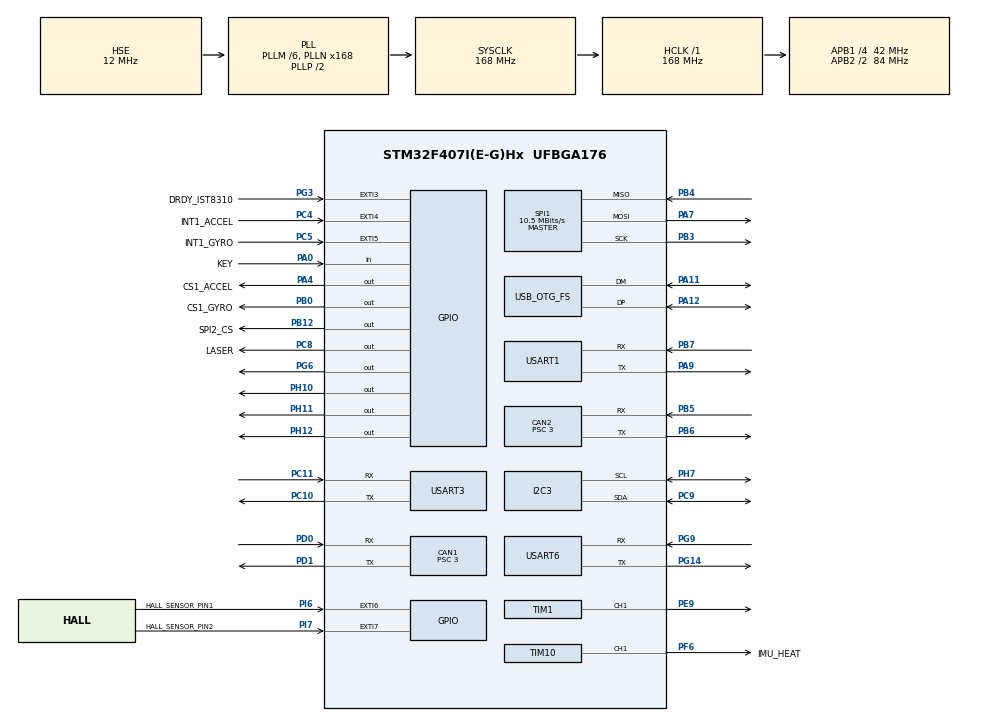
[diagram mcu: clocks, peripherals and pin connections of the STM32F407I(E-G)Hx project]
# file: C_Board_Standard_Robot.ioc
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CAN1.BS1=CAN_BS1_10TQ
CAN1.BS2=CAN_BS2_3TQ
CAN1.CalculateBaudRate=1000000
CAN1.CalculateTimeBit=1000
CAN1.CalculateTimeQuantum=71.42857142857143
CAN1.Prescaler=3
CAN2.BS1=CAN_BS1_10TQ
CAN2.BS2=CAN_BS2_3TQ
CAN2.CalculateBaudRate=1000000
CAN2.CalculateTimeBit=1000
CAN2.CalculateTimeQuantum=71.42857142857143
CAN2.Prescaler=3
Dma.Request0=SPI1_RX
Dma.Request1=SPI1_TX
Dma.Request2=USART1_RX
Dma.Request3=USART1_TX
Dma.Request4=USART3_RX
Dma.Request5=USART3_TX
Dma.Request6=USART6_RX
Dma.Request7=USART6_TX
Dma.SPI1_RX.0.Direction=DMA_PERIPH_TO_MEMORY
Dma.SPI1_RX.0.FIFOMode=DMA_FIFOMODE_DISABLE
Dma.SPI1_RX.0.Instance=DMA2_Stream0
Dma.SPI1_RX.0.MemDataAlignment=DMA_MDATAALIGN_BYTE
Dma.SPI1_RX.0.MemInc=DMA_MINC_ENABLE
Dma.SPI1_RX.0.Mode=DMA_NORMAL
Dma.SPI1_RX.0.PeriphDataAlignment=DMA_PDATAALIGN_BYTE
Dma.SPI1_RX.0.PeriphInc=DMA_PINC_DISABLE
Dma.SPI1_RX.0.Priority=DMA_PRIORITY_VERY_HIGH
Dma.SPI1_TX.1.Direction=DMA_MEMORY_TO_PERIPH
Dma.SPI1_TX.1.FIFOMode=DMA_FIFOMODE_DISABLE
Dma.SPI1_TX.1.Instance=DMA2_Stream3
Dma.SPI1_TX.1.MemDataAlignment=DMA_MDATAALIGN_BYTE
Dma.SPI1_TX.1.MemInc=DMA_MINC_ENABLE
Dma.SPI1_TX.1.Mode=DMA_NORMAL
Dma.SPI1_TX.1.PeriphDataAlignment=DMA_PDATAALIGN_BYTE
Dma.SPI1_TX.1.PeriphInc=DMA_PINC_DISABLE
Dma.SPI1_TX.1.Priority=DMA_PRIORITY_HIGH
Dma.USART1_RX.2.Direction=DMA_PERIPH_TO_MEMORY
Dma.USART1_RX.2.FIFOMode=DMA_FIFOMODE_DISABLE
Dma.USART1_RX.2.Instance=DMA2_Stream2
Dma.USART1_RX.2.MemDataAlignment=DMA_MDATAALIGN_BYTE
Dma.USART1_RX.2.MemInc=DMA_MINC_ENABLE
Dma.USART1_RX.2.Mode=DMA_NORMAL
Dma.USART1_RX.2.PeriphDataAlignment=DMA_PDATAALIGN_BYTE
Dma.USART1_RX.2.PeriphInc=DMA_PINC_DISABLE
Dma.USART1_RX.2.Priority=DMA_PRIORITY_VERY_HIGH
Dma.USART1_TX.3.Direction=DMA_MEMORY_TO_PERIPH
Dma.USART1_TX.3.FIFOMode=DMA_FIFOMODE_DISABLE
Dma.USART1_TX.3.Instance=DMA2_Stream7
Dma.USART1_TX.3.MemDataAlignment=DMA_MDATAALIGN_BYTE
Dma.USART1_TX.3.MemInc=DMA_MINC_ENABLE
Dma.USART1_TX.3.Mode=DMA_NORMAL
Dma.USART1_TX.3.PeriphDataAlignment=DMA_PDATAALIGN_BYTE
Dma.USART1_TX.3.PeriphInc=DMA_PINC_DISABLE
Dma.USART1_TX.3.Priority=DMA_PRIORITY_VERY_HIGH
Dma.USART3_RX.4.Direction=DMA_PERIPH_TO_MEMORY
Dma.USART3_RX.4.FIFOMode=DMA_FIFOMODE_DISABLE
Dma.USART3_RX.4.Instance=DMA1_Stream1
Dma.USART3_RX.4.MemDataAlignment=DMA_MDATAALIGN_BYTE
Dma.USART3_RX.4.MemInc=DMA_MINC_ENABLE
Dma.USART3_RX.4.Mode=DMA_NORMAL
Dma.USART3_RX.4.PeriphDataAlignment=DMA_PDATAALIGN_BYTE
Dma.USART3_RX.4.PeriphInc=DMA_PINC_DISABLE
Dma.USART3_RX.4.Priority=DMA_PRIORITY_VERY_HIGH
Dma.USART3_TX.5.Direction=DMA_MEMORY_TO_PERIPH
Dma.USART3_TX.5.FIFOMode=DMA_FIFOMODE_DISABLE
Dma.USART3_TX.5.Instance=DMA1_Stream3
Dma.USART3_TX.5.MemDataAlignment=DMA_MDATAALIGN_BYTE
Dma.USART3_TX.5.MemInc=DMA_MINC_ENABLE
Dma.USART3_TX.5.Mode=DMA_NORMAL
Dma.USART3_TX.5.PeriphDataAlignment=DMA_PDATAALIGN_BYTE
Dma.USART3_TX.5.PeriphInc=DMA_PINC_DISABLE
Dma.USART3_TX.5.Priority=DMA_PRIORITY_VERY_HIGH
Dma.USART6_RX.6.Direction=DMA_PERIPH_TO_MEMORY
Dma.USART6_RX.6.FIFOMode=DMA_FIFOMODE_DISABLE
Dma.USART6_RX.6.Instance=DMA2_Stream1
Dma.USART6_RX.6.MemDataAlignment=DMA_MDATAALIGN_BYTE
Dma.USART6_RX.6.MemInc=DMA_MINC_ENABLE
Dma.USART6_RX.6.Mode=DMA_NORMAL
Dma.USART6_RX.6.PeriphDataAlignment=DMA_PDATAALIGN_BYTE
Dma.USART6_RX.6.PeriphInc=DMA_PINC_DISABLE
Dma.USART6_RX.6.Priority=DMA_PRIORITY_VERY_HIGH
Dma.USART6_TX.7.Direction=DMA_MEMORY_TO_PERIPH
Dma.USART6_TX.7.FIFOMode=DMA_FIFOMODE_DISABLE
Dma.USART6_TX.7.Instance=DMA2_Stream6
Dma.USART6_TX.7.MemDataAlignment=DMA_MDATAALIGN_BYTE
Dma.USART6_TX.7.MemInc=DMA_MINC_ENABLE
Dma.USART6_TX.7.Mode=DMA_NORMAL
Dma.USART6_TX.7.PeriphDataAlignment=DMA_PDATAALIGN_BYTE
Dma.USART6_TX.7.PeriphInc=DMA_PINC_DISABLE
Dma.USART6_TX.7.Priority=DMA_PRIORITY_VERY_HIGH
FREERTOS.INCLUDE_eTaskGetState=1
FREERTOS.INCLUDE_pcTaskGetTaskName=1
FREERTOS.INCLUDE_uxTaskGetStackHighWaterMark=1
FREERTOS.INCLUDE_vTaskCleanUpResources=1
FREERTOS.INCLUDE_vTaskDelayUntil=1
FREERTOS.INCLUDE_xEventGroupSetBitFromISR=1
FREERTOS.INCLUDE_xQueueGetMutexHolder=1
FREERTOS.INCLUDE_xSemaphoreGetMutexHolder=1
FREERTOS.INCLUDE_xTaskAbortDelay=1
FREERTOS.INCLUDE_xTaskGetCurrentTaskHandle=1
FREERTOS.INCLUDE_xTaskGetHandle=1
FREERTOS.INCLUDE_xTimerPendFunctionCall=1
FREERTOS.Tasks01=INSTask,0,1024,StartINSTask,Default,NULL,Dynamic,NULL,NULL;defaultTask,0,128,StartDefaultTask,Default,NULL,Dynamic,NULL,NULL;Chassistask,0,512,Chassis_task,As external,NULL,Dynamic,NULL,NULL;UItask,0,512,StartUItask,Default,NULL,Dynamic,NULL,NULL;ExchangeTask,0,128,Exchange_task,As external,NULL,Dynamic,NULL,NULL;Gimbaltask,3,512,Gimbal_task,As external,NULL,Dynamic,NULL,NULL;Daemontask,0,128,StartDaemontask,Default,NULL,Dynamic,NULL,NULL;Shoottask,0,256,Shoot_task,As external,NULL,Dynamic,NULL,NULL
FREERTOS.configTOTAL_HEAP_SIZE=24576
I2C3.I2C_Mode=I2C_Fast
Mcu.Family=STM32F4
Mcu.Name=STM32F407I(E-G)Hx
Mcu.Package=UFBGA176
NVIC.CAN1_RX0_IRQn=true\:5\:0\:false\:false\:true\:true\:true\:true\:true
NVIC.CAN1_TX_IRQn=true\:5\:0\:false\:false\:true\:true\:true\:true\:true
NVIC.CAN2_RX0_IRQn=true\:5\:0\:false\:false\:true\:true\:true\:true\:true
NVIC.CAN2_TX_IRQn=true\:5\:0\:false\:false\:true\:true\:true\:true\:true
NVIC.DMA1_Stream1_IRQn=true\:5\:0\:false\:false\:true\:true\:false\:true\:true
NVIC.DMA1_Stream3_IRQn=true\:5\:0\:false\:false\:true\:true\:false\:true\:true
NVIC.DMA2_Stream0_IRQn=true\:5\:0\:false\:false\:true\:true\:false\:true\:true
NVIC.DMA2_Stream1_IRQn=true\:5\:0\:false\:false\:true\:true\:false\:true\:true
NVIC.DMA2_Stream2_IRQn=true\:5\:0\:true\:false\:false\:true\:false\:true\:true
NVIC.DMA2_Stream3_IRQn=true\:5\:0\:true\:false\:false\:true\:false\:true\:true
NVIC.DMA2_Stream6_IRQn=true\:5\:0\:false\:false\:true\:true\:false\:true\:true
NVIC.DMA2_Stream7_IRQn=true\:5\:0\:false\:false\:true\:true\:false\:true\:true
NVIC.EXTI3_IRQn=true\:5\:0\:true\:false\:true\:true\:true\:true\:true
NVIC.EXTI4_IRQn=true\:5\:0\:true\:false\:true\:true\:true\:true\:true
NVIC.EXTI9_5_IRQn=true\:5\:0\:true\:false\:true\:true\:true\:true\:true
NVIC.OTG_FS_IRQn=true\:5\:0\:false\:false\:true\:true\:false\:true\:true
NVIC.PriorityGroup=NVIC_PRIORITYGROUP_4
NVIC.SPI1_IRQn=true\:5\:0\:false\:false\:true\:true\:true\:true\:true
NVIC.TIM1_BRK_TIM9_IRQn=true\:5\:0\:false\:false\:true\:true\:true\:true\:true
NVIC.TIM1_UP_TIM10_IRQn=true\:5\:0\:false\:false\:true\:true\:true\:true\:true
NVIC.TIM3_IRQn=true\:15\:0\:false\:false\:true\:false\:false\:true\:true
NVIC.TIM8_BRK_TIM12_IRQn=true\:5\:0\:false\:false\:true\:true\:true\:true\:true
NVIC.TIM8_UP_TIM13_IRQn=true\:5\:0\:false\:false\:true\:true\:true\:true\:true
NVIC.TimeBase=TIM3_IRQn
NVIC.TimeBaseIP=TIM3
NVIC.USART1_IRQn=true\:5\:0\:false\:false\:true\:true\:true\:true\:true
NVIC.USART3_IRQn=true\:5\:0\:false\:false\:true\:true\:true\:true\:true
NVIC.USART6_IRQn=true\:5\:0\:false\:false\:true\:true\:true\:true\:true
PA0-WKUP.GPIO_Label=KEY
PA0-WKUP.GPIO_PuPd=GPIO_PULLUP
PA0-WKUP.Signal=GPIO_Input
PA11.Mode=Device_Only
PA11.Signal=USB_OTG_FS_DM
PA12.Mode=Device_Only
PA12.Signal=USB_OTG_FS_DP
PA13.Mode=Serial_Wire
PA13.Signal=SYS_JTMS-SWDIO
PA14.Mode=Serial_Wire
PA14.Signal=SYS_JTCK-SWCLK
PA4.GPIO_Label=CS1_ACCEL
PA4.GPIO_PuPd=GPIO_PULLUP
PA4.GPIO_Speed=GPIO_SPEED_FREQ_HIGH
PA4.PinState=GPIO_PIN_SET
PA4.Signal=GPIO_Output
PA7.GPIO_PuPd=GPIO_PULLUP
PA7.Mode=Full_Duplex_Master
PA7.Signal=SPI1_MOSI
PA9.Mode=Asynchronous
PA9.Signal=USART1_TX
PB0.GPIO_Label=CS1_GYRO
PB0.GPIO_PuPd=GPIO_PULLUP
PB0.GPIO_Speed=GPIO_SPEED_FREQ_HIGH
PB0.PinState=GPIO_PIN_SET
PB0.Signal=GPIO_Output
PB12.GPIO_Label=SPI2_CS
PB12.GPIO_PuPd=GPIO_PULLUP
PB12.GPIO_Speed=GPIO_SPEED_FREQ_MEDIUM
PB12.PinState=GPIO_PIN_SET
PB12.Signal=GPIO_Output
PB3.GPIO_PuPd=GPIO_PULLUP
PB3.Mode=Full_Duplex_Master
PB3.Signal=SPI1_SCK
PB4.GPIO_PuPd=GPIO_PULLUP
PB4.Mode=Full_Duplex_Master
PB4.Signal=SPI1_MISO
PB5.Mode=CAN_Activate
PB5.Signal=CAN2_RX
PB6.Mode=CAN_Activate
PB6.Signal=CAN2_TX
PB7.Mode=Asynchronous
PB7.Signal=USART1_RX
PC10.Mode=Asynchronous
PC10.Signal=USART3_TX
PC11.Mode=Asynchronous
PC11.Signal=USART3_RX
PC4.GPIO_Label=INT1_ACCEL
PC4.GPIO_ModeDefaultEXTI=GPIO_MODE_IT_FALLING
PC4.GPIO_PuPd=GPIO_PULLUP
PC4.Signal=GPXTI4
PC5.GPIO_Label=INT1_GYRO
PC5.GPIO_ModeDefaultEXTI=GPIO_MODE_IT_FALLING
PC5.GPIO_PuPd=GPIO_PULLUP
PC5.Signal=GPXTI5
PC8.GPIO_Label=LASER
PC8.Signal=GPIO_Output
PC9.Mode=I2C
PC9.Signal=I2C3_SDA
PD0.Mode=CAN_Activate
PD0.Signal=CAN1_RX
PD1.Mode=CAN_Activate
PD1.Signal=CAN1_TX
PE9.GPIO_PuPd=GPIO_PULLUP
PE9.GPIO_Speed=GPIO_SPEED_FREQ_HIGH
PE9.Signal=S_TIM1_CH1
PF6.GPIO_Label=IMU_HEAT
PF6.GPIO_PuPd=GPIO_PULLUP
PF6.GPIO_Speed=GPIO_SPEED_FREQ_HIGH
PF6.Signal=S_TIM10_CH1
PG14.Mode=Asynchronous
PG14.Signal=USART6_TX
PG3.GPIO_Label=DRDY_IST8310
PG3.GPIO_ModeDefaultEXTI=GPIO_MODE_IT_FALLING
PG3.GPIO_PuPd=GPIO_PULLUP
PG3.Signal=GPXTI3
PG6.Signal=GPIO_Output
PG9.Mode=Asynchronous
PG9.Signal=USART6_RX
PH0-OSC_IN.Mode=HSE-External-Oscillator
PH0-OSC_IN.Signal=RCC_OSC_IN
PH1-OSC_OUT.Mode=HSE-External-Oscillator
PH1-OSC_OUT.Signal=RCC_OSC_OUT
PH10.GPIO_PuPd=GPIO_PULLUP
PH10.Signal=GPIO_Output
PH11.GPIO_PuPd=GPIO_PULLUP
PH11.Signal=GPIO_Output
PH12.GPIO_PuPd=GPIO_PULLUP
PH12.Signal=GPIO_Output
PH7.Mode=I2C
PH7.Signal=I2C3_SCL
PI6.GPIO_Label=HALL_SENSOR_PIN1
PI6.Signal=GPXTI6
PI7.GPIO_Label=HALL_SENSOR_PIN2
PI7.Signal=GPXTI7
ProjectManager.HeapSize=0x2000
ProjectManager.StackSize=0x2000
ProjectManager.TargetToolchain=MDK-ARM V5.32
RCC.48MHZClocksFreq_Value=48000000
RCC.AHBFreq_Value=168000000
RCC.APB1CLKDivider=RCC_HCLK_DIV4
RCC.APB1Freq_Value=42000000
RCC.APB1TimFreq_Value=84000000
RCC.APB2CLKDivider=RCC_HCLK_DIV2
RCC.APB2Freq_Value=84000000
RCC.APB2TimFreq_Value=168000000
RCC.CortexFreq_Value=168000000
RCC.HCLKFreq_Value=168000000
RCC.HSE_VALUE=12000000
RCC.HSI_VALUE=16000000
RCC.LSE_VALUE=32768
RCC.PLLM=6
RCC.PLLN=168
RCC.PLLQ=7
RCC.PLLSourceVirtual=RCC_PLLSOURCE_HSE
RCC.RCC_RTC_Clock_SourceVirtual=RCC_RTCCLKSOURCE_HSE_DIV30
RCC.RCC_RTC_Clock_Source_FROM_HSE=RCC_RTCCLKSOURCE_HSE_DIV30
RCC.SYSCLKFreq_VALUE=168000000
RCC.SYSCLKSource=RCC_SYSCLKSOURCE_PLLCLK
RCC.VCOOutputFreq_Value=336000000
SH.S_TIM10_CH1.0=TIM10_CH1,PWM Generation1 CH1
SH.S_TIM1_CH1.0=TIM1_CH1,PWM Generation1 CH1
SPI1.BaudRatePrescaler=SPI_BAUDRATEPRESCALER_8
SPI1.CLKPhase=SPI_PHASE_2EDGE
SPI1.CLKPolarity=SPI_POLARITY_HIGH
SPI1.CalculateBaudRate=10.5 MBits/s
SPI1.Direction=SPI_DIRECTION_2LINES
SPI1.Mode=SPI_MODE_MASTER
SPI1.VirtualType=VM_MASTER
TIM1.Channel-PWM\ Generation1\ CH1=TIM_CHANNEL_1
TIM1.Period=10000-1
TIM1.Prescaler=16800-1
TIM10.Channel=TIM_CHANNEL_1
TIM10.Period=2000-1
TIM10.Prescaler=84-1
TIM2.Period=100-1
TIM2.Prescaler=8400
TIM9.Period=100-1
TIM9.Prescaler=16800-1
USART1.VirtualMode=VM_ASYNC
USART3.VirtualMode=VM_ASYNC
USART6.VirtualMode=VM_ASYNC
USB_DEVICE.CLASS_NAME_FS=CDC
USB_DEVICE.VirtualMode-CDC_FS=Cdc
USB_DEVICE.VirtualModeFS=Cdc_FS
USB_OTG_FS.VirtualMode=Device_Only
VP_FREERTOS_VS_CMSIS_V1.Mode=CMSIS_V1
VP_SYS_VS_tim3.Mode=TIM3
VP_TIM10_VS_ClockSourceINT.Mode=Enable_Timer
VP_TIM1_VS_ClockSourceINT.Mode=Internal
VP_TIM2_VS_ClockSourceINT.Mode=Internal
VP_TIM8_VS_ClockSourceINT.Mode=Internal
VP_TIM9_VS_ClockSourceINT.Mode=Internal
VP_USB_DEVICE_VS_USB_DEVICE_CDC_FS.Mode=CDC_FS
board=custom

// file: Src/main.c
/* USER CODE BEGIN Header */
/**
  ******************************************************************************
  * @file           : main.c
  * @brief          : Main program body
  ******************************************************************************
  * @attention
  *
  * Copyright (c) 2023 STMicroelectronics.
  * All rights reserved.
  *
  * This software is licensed under terms that can be found in the LICENSE file
  * in the root directory of this software component.
  * If no LICENSE file comes with this software, it is provided AS-IS.
  *
  ******************************************************************************
  */
/* USER CODE END Header */
#include "main.h"
#include "cmsis_os.h"
#include "can.h"
#include "dma.h"
#include "i2c.h"
#include "spi.h"
#include "tim.h"
#include "usart.h"
#include "usb_device.h"
#include "gpio.h"

/* USER CODE BEGIN Includes */
#include "INS_task.h"
#include "drv_can.h"
#include "drv_usart.h"
#
/* USER CODE END Includes */

void SystemClock_Config(void);
void MX_FREERTOS_Init(void);

/* USER CODE BEGIN 0 */
//全局变量
uint16_t can_cnt_2;
float target_speed[7]={0};//实测最大空载转速320rpm
float target_speed_can_2[7]={0};//实测最大空载转速320rpm
moto_info_t motor_info[MOTOR_MAX_NUM];		//赋予最大的7个字节
moto_info_t motor_info_can_2[MOTOR_MAX_NUM];		//赋予最大的7个字节

uint8_t can_flag=0;
double step=9158/660;
double r;
double target_v;
int16_t target_int1;
int16_t target_int2;//用于叠加旋转和直行
double target_curl;
float yuntai_step=60*(1024-364);

//拨盘
float time=100;//时间
float time_count;//时间计数值
uint8_t flag_shoot;//标志位
float round_shoot;//转动圈数
float down;
float up;

//Yaw轴
int16_t target_angle=4096;
int16_t err_angle;
int16_t max_yaw_speed;
float small;
float angle_limit =8191;//转角的最大值

uint8_t rx_data[8];
/* USER CODE END 0 */

int main(void)
{

  /* MCU Configuration--------------------------------------------------------*/

  /* Reset of all peripherals, Initializes the Flash interface and the Systick. */
  HAL_Init();

  /* Configure the system clock */
  SystemClock_Config();

  /* Initialize all configured peripherals */
  MX_GPIO_Init();
  MX_DMA_Init();
  MX_SPI1_Init();
  MX_TIM10_Init();
  MX_CAN1_Init();
  MX_CAN2_Init();
  MX_I2C3_Init();
  MX_TIM1_Init();
  MX_TIM2_Init();
  MX_TIM8_Init();
  MX_TIM9_Init();
  MX_USART1_UART_Init();
  MX_USART3_UART_Init();
  MX_USART6_UART_Init();
  /* USER CODE BEGIN 2 */
	HAL_TIM_PWM_Start(&htim10,TIM_CHANNEL_1);
	HAL_NVIC_SetPriority(TIM2_IRQn, 0, 0);//修改TIM2中断优先级
//	HAL_NVIC_SetPriority(SysTick_IRQn,1,1);//调高HAL_Delay的时钟中断优先级
	CAN1_Init();
  CAN2_Init();
  USART6_Init();
	USART3_Init();
	HAL_TIM_Base_Start_IT(&htim1);//开启定时器1并打开中断,记得修改优先级
  DWT_Init(168);

  while (BMI088_init(&hspi1, 1) != BMI088_NO_ERROR)
        ;
  /* USER CODE END 2 */

  /* Call init function for freertos objects (in freertos.c) */
  MX_FREERTOS_Init();

  /* Start scheduler */
  osKernelStart();
  /* We should never get here as control is now taken by the scheduler */
  /* Infinite loop */
  while (1)
  {

  }
}

void SystemClock_Config(void)
{
  RCC_OscInitTypeDef RCC_OscInitStruct = {0};
  RCC_ClkInitTypeDef RCC_ClkInitStruct = {0};

  /** Configure the main internal regulator output voltage
  */
  __HAL_RCC_PWR_CLK_ENABLE();
  __HAL_PWR_VOLTAGESCALING_CONFIG(PWR_REGULATOR_VOLTAGE_SCALE1);

  /** Initializes the RCC Oscillators according to the specified parameters
  * in the RCC_OscInitTypeDef structure.
  */
  RCC_OscInitStruct.OscillatorType = RCC_OSCILLATORTYPE_HSE;
  RCC_OscInitStruct.HSEState = RCC_HSE_ON;
  RCC_OscInitStruct.PLL.PLLState = RCC_PLL_ON;
  RCC_OscInitStruct.PLL.PLLSource = RCC_PLLSOURCE_HSE;
  RCC_OscInitStruct.PLL.PLLM = 6;
  RCC_OscInitStruct.PLL.PLLN = 168;
  RCC_OscInitStruct.PLL.PLLP = RCC_PLLP_DIV2;
  RCC_OscInitStruct.PLL.PLLQ = 7;
  if (HAL_RCC_OscConfig(&RCC_OscInitStruct) != HAL_OK)
  {
    Error_Handler();
  }

  /** Initializes the CPU, AHB and APB buses clocks
  */
  RCC_ClkInitStruct.ClockType = RCC_CLOCKTYPE_HCLK|RCC_CLOCKTYPE_SYSCLK
                              |RCC_CLOCKTYPE_PCLK1|RCC_CLOCKTYPE_PCLK2;
  RCC_ClkInitStruct.SYSCLKSource = RCC_SYSCLKSOURCE_PLLCLK;
  RCC_ClkInitStruct.AHBCLKDivider = RCC_SYSCLK_DIV1;
  RCC_ClkInitStruct.APB1CLKDivider = RCC_HCLK_DIV4;
  RCC_ClkInitStruct.APB2CLKDivider = RCC_HCLK_DIV2;

  if (HAL_RCC_ClockConfig(&RCC_ClkInitStruct, FLASH_LATENCY_5) != HAL_OK)
  {
    Error_Handler();
  }
}

void HAL_TIM_PeriodElapsedCallback(TIM_HandleTypeDef *htim)
{
  if (htim->Instance == TIM3) {
    HAL_IncTick();
  }
}

void Error_Handler(void)
{
  __disable_irq();
  while (1)
  {
  }
}

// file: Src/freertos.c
/* USER CODE BEGIN Header */
/**
 ******************************************************************************
 * File Name          : freertos.c
 * Description        : Code for freertos applications
 ******************************************************************************
 * @attention
 *
 * <h2><center>&copy; Copyright (c) 2021 STMicroelectronics.
 * All rights reserved.</center></h2>
 *
 * This software component is licensed by ST under Ultimate Liberty license
 * SLA0044, the "License"; You may not use this file except in compliance with
 * the License. You may obtain a copy of the License at:
 *                             www.st.com/SLA0044
 *
 ******************************************************************************
 */
/* USER CODE END Header */

#include "FreeRTOS.h"
#include "task.h"
#include "main.h"
#include "cmsis_os.h"

/* USER CODE BEGIN Includes */
#include "rc_potocal.h"
#include "arm_math.h"
#include "INS_task.h"
#include "exchange.h"
#include "Chassis_task.h"
#include "super_cap.h"
#include  "UI_task.h"
#include "stm32f4xx_it.h"
/* USER CODE END Includes */

/* USER CODE BEGIN Variables */
osThreadId Chassis_taskHandle;
osThreadId myTask02Handle;
osThreadId super_capHandle;
osThreadId UI_taskHandle;
/* USER CODE END Variables */
osThreadId INSTaskHandle;
osThreadId defaultTaskHandle;
osThreadId ChassistaskHandle;
osThreadId UItaskHandle;
osThreadId ExchangeTaskHandle;
osThreadId GimbaltaskHandle;
osThreadId DaemontaskHandle;
osThreadId ShoottaskHandle;

void StartINSTask(void const * argument);
void StartDefaultTask(void const * argument);
extern void Chassis_task(void const * argument);
void StartUItask(void const * argument);
extern void Exchange_task(void const * argument);
extern void Gimbal_task(void const * argument);
void StartDaemontask(void const * argument);
extern void Shoot_task(void const * argument);

extern void MX_USB_DEVICE_Init(void);
void MX_FREERTOS_Init(void); /* (MISRA C 2004 rule 8.1) */

/* GetIdleTaskMemory prototype (linked to static allocation support) */
void vApplicationGetIdleTaskMemory( StaticTask_t **ppxIdleTaskTCBBuffer, StackType_t **ppxIdleTaskStackBuffer, uint32_t *pulIdleTaskStackSize );

/* GetTimerTaskMemory prototype (linked to static allocation support) */
void vApplicationGetTimerTaskMemory( StaticTask_t **ppxTimerTaskTCBBuffer, StackType_t **ppxTimerTaskStackBuffer, uint32_t *pulTimerTaskStackSize );

/* USER CODE BEGIN GET_IDLE_TASK_MEMORY */
static StaticTask_t xIdleTaskTCBBuffer;
static StackType_t xIdleStack[configMINIMAL_STACK_SIZE];

void vApplicationGetIdleTaskMemory(StaticTask_t **ppxIdleTaskTCBBuffer, StackType_t **ppxIdleTaskStackBuffer, uint32_t *pulIdleTaskStackSize)
{
    *ppxIdleTaskTCBBuffer = &xIdleTaskTCBBuffer;
    *ppxIdleTaskStackBuffer = &xIdleStack[0];
    *pulIdleTaskStackSize = configMINIMAL_STACK_SIZE;
    /* place for user code */
}
/* USER CODE END GET_IDLE_TASK_MEMORY */

/* USER CODE BEGIN GET_TIMER_TASK_MEMORY */
static StaticTask_t xTimerTaskTCBBuffer;
static StackType_t xTimerStack[configTIMER_TASK_STACK_DEPTH];

void vApplicationGetTimerTaskMemory(StaticTask_t **ppxTimerTaskTCBBuffer, StackType_t **ppxTimerTaskStackBuffer, uint32_t *pulTimerTaskStackSize)
{
    *ppxTimerTaskTCBBuffer = &xTimerTaskTCBBuffer;
    *ppxTimerTaskStackBuffer = &xTimerStack[0];
    *pulTimerTaskStackSize = configTIMER_TASK_STACK_DEPTH;
    /* place for user code */
}
/* USER CODE END GET_TIMER_TASK_MEMORY */

void MX_FREERTOS_Init(void) {

  /* Create the thread(s) */
  /* definition and creation of INSTask */
  osThreadDef(INSTask, StartINSTask, osPriorityNormal, 0, 1024);
  INSTaskHandle = osThreadCreate(osThread(INSTask), NULL);

  /* definition and creation of defaultTask */
  osThreadDef(defaultTask, StartDefaultTask, osPriorityNormal, 0, 128);
  defaultTaskHandle = osThreadCreate(osThread(defaultTask), NULL);

  /* definition and creation of Chassistask */
  osThreadDef(Chassistask, Chassis_task, osPriorityNormal, 0, 512);
  ChassistaskHandle = osThreadCreate(osThread(Chassistask), NULL);

  /* definition and creation of UItask */
  osThreadDef(UItask, StartUItask, osPriorityNormal, 0, 512);
  UItaskHandle = osThreadCreate(osThread(UItask), NULL);

  /* definition and creation of ExchangeTask */
  osThreadDef(ExchangeTask, Exchange_task, osPriorityNormal, 0, 128);
  ExchangeTaskHandle = osThreadCreate(osThread(ExchangeTask), NULL);

  /* definition and creation of Gimbaltask */
  osThreadDef(Gimbaltask, Gimbal_task, osPriorityRealtime, 0, 512);
  GimbaltaskHandle = osThreadCreate(osThread(Gimbaltask), NULL);

  /* definition and creation of Daemontask */
  osThreadDef(Daemontask, StartDaemontask, osPriorityNormal, 0, 128);
  DaemontaskHandle = osThreadCreate(osThread(Daemontask), NULL);

  /* definition and creation of Shoottask */
  osThreadDef(Shoottask, Shoot_task, osPriorityNormal, 0, 256);
  ShoottaskHandle = osThreadCreate(osThread(Shoottask), NULL);

}

void StartINSTask(void const * argument)
{
  /* init code for USB_DEVICE */
  MX_USB_DEVICE_Init();
  /* USER CODE BEGIN StartINSTask */
    INS_Init();
    /* Infinite loop */
    for (;;)
    {
        INS_Task();
        osDelay(1);
    }
  /* USER CODE END StartINSTask */
}

void StartDefaultTask(void const * argument)
{
  /* USER CODE BEGIN StartDefaultTask */
	HAL_GPIO_WritePin(GPIOH,GPIO_PIN_11,GPIO_PIN_SET);
	HAL_GPIO_WritePin(GPIOH,GPIO_PIN_10,GPIO_PIN_SET);
	uint8_t TIM1_flag = 1;//��֪��bug
  /* Infinite loop */
  for(;;)
  {
    osDelay(1);
  }
  /* USER CODE END StartDefaultTask */
}

void StartUItask(void const * argument)
{
  for(;;)
  {
    osDelay(1);
  }
}

void StartDaemontask(void const * argument)
{
  for(;;)
  {
    osDelay(1);
  }
}

/* USER CODE BEGIN Application */
//void StartDefaultTask(void const * argument)
//{
  /* USER CODE BEGIN StartDefaultTask */
	//HAL_GPIO_WritePin(GPIOH,GPIO_PIN_11,GPIO_PIN_SET);
	//HAL_GPIO_WritePin(GPIOH,GPIO_PIN_10,GPIO_PIN_SET);
	//uint8_t TIM1_flag = 1;//��֪��bug
  /* Infinite loop */
  //for(;;)
  //{
   // osDelay(1);
  //}
  /* USER CODE END StartDefaultTask */
//}
/* USER CODE END Application */
